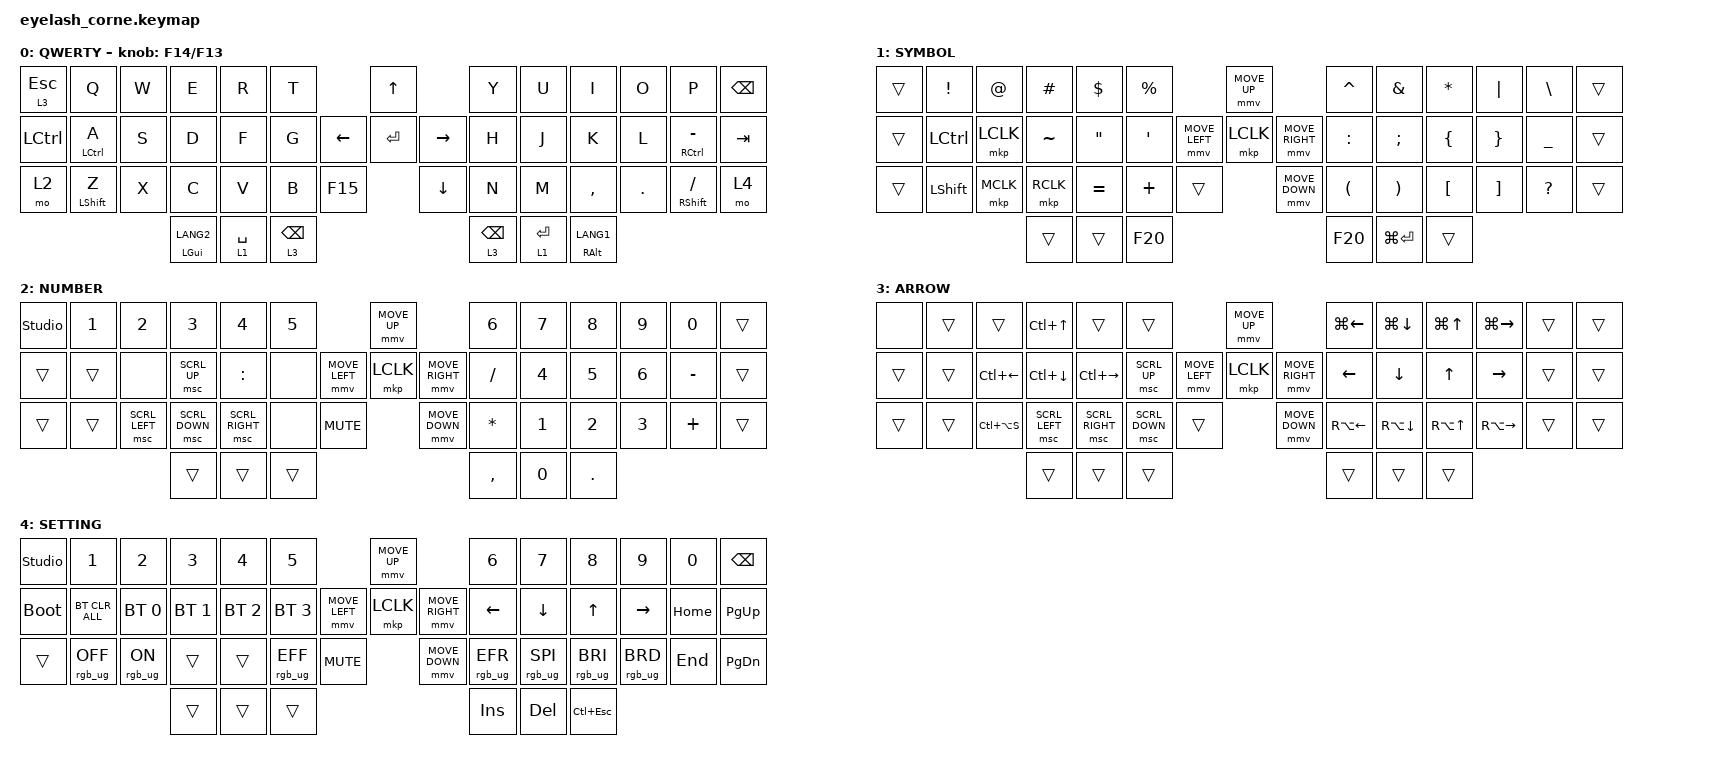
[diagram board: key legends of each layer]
#define ZMK_POINTING_DEFAULT_MOVE_VAL 1200  // 600
#define ZMK_POINTING_DEFAULT_SCRL_VAL 25   // 10

#include <input/processors.dtsi>
#include <zephyr/dt-bindings/input/input-event-codes.h>
#include <behaviors.dtsi>
#include <dt-bindings/zmk/bt.h>
#include <dt-bindings/zmk/keys.h>
#include <dt-bindings/zmk/pointing.h>
#include <dt-bindings/zmk/rgb.h>

&mmv_input_listener { input-processors = <&zip_xy_scaler 2 1>; };

&msc_input_listener { input-processors = <&zip_scroll_scaler 2 1>; };

&msc {
    acceleration-exponent = <1>;      // 0
    time-to-max-speed-ms = <100>;       // 300
    delay-ms = <0>;                   // 0
};

&mmv {
    time-to-max-speed-ms = <500>;
    acceleration-exponent = <1>;
    trigger-period-ms = <16>;
};

/ {
    behaviors {
        td0: td0 {
            compatible = "zmk,behavior-tap-dance";
            display-name = "Shift/Caps Lock Tap Dance";
            #binding-cells = <0>;
            bindings = <&kp LEFT_SHIFT>, <&kp CAPS>;
        };
    };

    rgb_encoder: rgb_encoder {
        compatible = "zmk,behavior-sensor-rotate";
        #sensor-binding-cells = <0>;
        bindings = <&rgb_ug RGB_BRI>, <&rgb_ug RGB_BRD>;
    };

    scroll_encoder: scroll_encoder {
        compatible = "zmk,behavior-sensor-rotate";
        #sensor-binding-cells = <0>;
        bindings = <&msc SCRL_DOWN>, <&msc SCRL_UP>;

        tap-ms = <100>;
    };

    keymap {
        compatible = "zmk,keymap";

        default_layer {
            display-name = "QWERTY";
            bindings = <
&lt 3 ESCAPE  &kp Q         &kp W  &kp E           &kp R        &kp T                                 &kp UP                &kp Y            &kp U        &kp I           &kp O    &kp P             &kp BSPC
&kp LCTRL     &mt LCTRL A   &kp S  &kp D           &kp F        &kp G                       &kp LEFT  &kp ENTER  &kp RIGHT  &kp H            &kp J        &kp K           &kp L    &mt RCTRL MINUS   &kp TAB
&mo 2         &mt LSHIFT Z  &kp X  &kp C           &kp V        &kp B            &kp F15              &kp DOWN              &kp N            &kp M        &kp COMMA       &kp DOT  &mt RSHIFT SLASH  &mo 4
                                   &mt LGUI LANG2  &lt 1 SPACE  &lt 3 BACKSPACE                                             &lt 3 BACKSPACE  &lt 1 ENTER  &mt RALT LANG1
            >;

            sensor-bindings = <&inc_dec_kp F14 F13>;
        };

        symbol {
            display-name = "SYMBOL";
            bindings = <
&trans  &kp EXCL    &kp AT     &kp HASH   &kp DLLR           &kp PRCNT                                   &mmv MOVE_UP                     &kp CARET  &kp AMPS       &kp ASTRK         &kp PIPE           &kp BACKSLASH  &trans
&trans  &kp LCTRL   &mkp LCLK  &kp TILDE  &kp DOUBLE_QUOTES  &kp SINGLE_QUOTE            &mmv MOVE_LEFT  &mkp LCLK       &mmv MOVE_RIGHT  &kp COLON  &kp SEMI       &kp LEFT_BRACE    &kp RIGHT_BRACE    &kp UNDER      &trans
&trans  &kp LSHIFT  &mkp MCLK  &mkp RCLK  &kp EQUAL          &kp PLUS          &trans                    &mmv MOVE_DOWN                   &kp LPAR   &kp RPAR       &kp LEFT_BRACKET  &kp RIGHT_BRACKET  &kp QUESTION   &trans
                               &trans     &trans             &kp F20                                                                      &kp F20    &kp LG(ENTER)  &trans
            >;
        };

        number {
            display-name = "NUMBER";
            bindings = <
&studio_unlock  &kp N1  &kp N2          &kp N3          &kp N4           &kp N5                                &mmv MOVE_UP                     &kp N6     &kp N7  &kp N8   &kp N9  &kp N0     &trans
&trans          &trans  &none           &msc SCRL_UP    &kp COLON        &none                 &mmv MOVE_LEFT  &mkp LCLK       &mmv MOVE_RIGHT  &kp SLASH  &kp N4  &kp N5   &kp N6  &kp MINUS  &trans
&trans          &trans  &msc SCRL_LEFT  &msc SCRL_DOWN  &msc SCRL_RIGHT  &none   &kp C_MUTE                    &mmv MOVE_DOWN                   &kp ASTRK  &kp N1  &kp N2   &kp N3  &kp PLUS   &trans
                                        &trans          &trans           &trans                                                                 &kp COMMA  &kp N0  &kp DOT
            >;
        };

        arrow {
            bindings = <
&none   &trans  &trans              &kp LC(UP_ARROW)  &trans           &trans                                    &mmv MOVE_UP                     &kp LG(LEFT)    &kp LG(DOWN)  &kp LG(UP_ARROW)  &kp LG(RIGHT)  &trans  &trans
&trans  &trans  &kp LC(LEFT_ARROW)  &kp LC(DOWN)      &kp LC(RIGHT)    &msc SCRL_UP              &mmv MOVE_LEFT  &mkp LCLK       &mmv MOVE_RIGHT  &kp LEFT_ARROW  &kp DOWN      &kp UP_ARROW      &kp RIGHT      &trans  &trans
&trans  &trans  &kp LC(LA(S))       &msc SCRL_LEFT    &msc SCRL_RIGHT  &msc SCRL_DOWN  &trans                    &mmv MOVE_DOWN                   &kp RA(LEFT)    &kp RA(DOWN)  &kp RA(UP_ARROW)  &kp RA(RIGHT)  &trans  &trans
                                    &trans            &trans           &trans                                                                     &trans          &trans        &trans
            >;

            label = "ARROW";
        };

        setting {
            display-name = "SETTING";
            bindings = <
&studio_unlock  &kp N1           &kp N2          &kp N3        &kp N4        &kp N5                                         &mmv MOVE_UP                     &kp N6           &kp N7           &kp N8           &kp N9           &kp N0    &kp BSPC
&bootloader     &bt BT_CLR_ALL   &bt BT_SEL 0    &bt BT_SEL 1  &bt BT_SEL 2  &bt BT_SEL 3                   &mmv MOVE_LEFT  &mkp LCLK       &mmv MOVE_RIGHT  &kp LEFT         &kp DOWN         &kp UP           &kp RIGHT        &kp HOME  &kp PG_UP
&trans          &rgb_ug RGB_OFF  &rgb_ug RGB_ON  &trans        &trans        &rgb_ug RGB_EFF  &kp C_MUTE                    &mmv MOVE_DOWN                   &rgb_ug RGB_EFR  &rgb_ug RGB_SPI  &rgb_ug RGB_BRI  &rgb_ug RGB_BRD  &kp END   &kp PG_DN
                                                 &trans        &trans        &trans                                                                          &kp INS          &kp DEL          &kp LC(ESCAPE)
            >;
        };
    };
};
